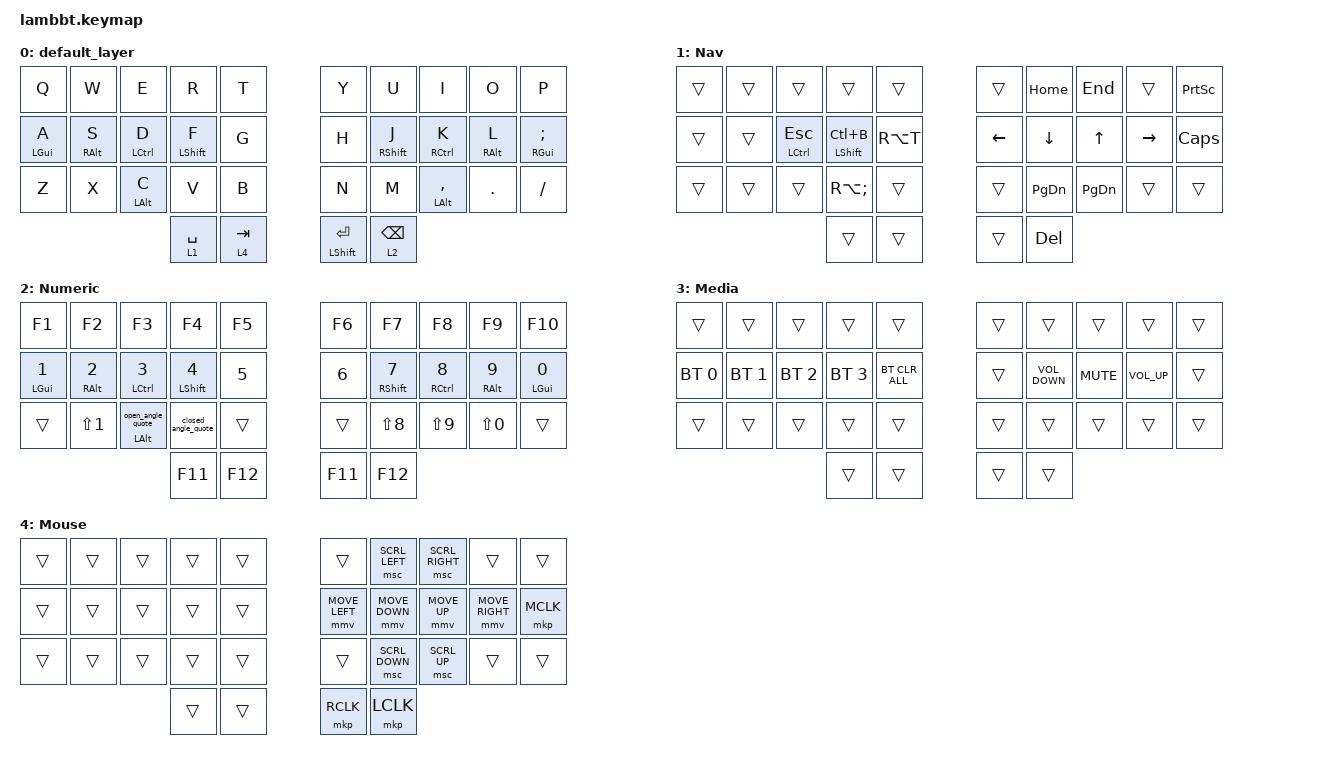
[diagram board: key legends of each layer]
/*
 * Copyright (c) 2020 The ZMK Contributors
 *
 * SPDX-License-Identifier: MIT
 */

#include <dt-bindings/zmk/mouse.h>
#include <behaviors.dtsi>
#include <dt-bindings/zmk/bt.h>
#include <dt-bindings/zmk/keys.h>
#include <dt-bindings/zmk/pointing.h>
#include <dt-bindings/zmk/pointing.h>
#include <dt-bindings/zmk/pointing.h>

#define ZMK_POINTING_DEFAULT_MOVE_VAL 900  // default: 600
#define ZMK_POINTING_DEFAULT_SCRL_VAL 10    // default: 10
#define NAV_L 1
#define OTHER_L 2
#define NUM_L 3
#define SYM_L 4

// Using layer taps on thumbs, having quick tap as well helps w/ repeating space/backspace
//&lt { quick-tap-ms = <200>; };

/ {
    behaviors {
        hml: hml {
            compatible = "zmk,behavior-hold-tap";
            flavor = "balanced";
            tapping-term-ms = <280>;
            quick-tap-ms = <175>;
            #binding-cells = <2>;
            bindings = <&kp>, <&kp>;

            hold-trigger-key-positions = <5 6 7 8 9 15 16 17 18 19 25 26 27 28 29 32 33 30 31>;
            require-prior-idle-ms = <150>;
            hold-trigger-on-release;
        };

        hmr: hmr {
            compatible = "zmk,behavior-hold-tap";
            flavor = "balanced";
            tapping-term-ms = <280>;
            quick-tap-ms = <175>;
            #binding-cells = <2>;
            bindings = <&kp>, <&kp>;

            hold-trigger-key-positions = <0 1 2 3 4 10 11 12 13 14 20 21 22 23 24 31 30 32 33>;
            require-prior-idle-ms = <150>;
            hold-trigger-on-release;
        };

        hrlt: hrlt {
            compatible = "zmk,behavior-hold-tap";
            flavor = "balanced";
            tapping-term-ms = <280>;
            quick-tap-ms = <175>;
            #binding-cells = <2>;
            bindings = <&mo>, <&kp>;

            hold-trigger-key-positions = <5 6 7 8 9 15 16 17 18 19 25 26 27 28 29 32 33 30 31>;
            require-prior-idle-ms = <150>;
            hold-trigger-on-release;
            label = "HRLT";
        };

        hroa: hroa {
            compatible = "zmk,behavior-hold-tap";
            flavor = "balanced";
            tapping-term-ms = <280>;
            quick-tap-ms = <175>;
            #binding-cells = <2>;
            bindings = <&kp>, <&open_angle_quote>;

            hold-trigger-key-positions = <5 6 7 8 9 15 16 17 18 19 25 26 27 28 29 32 33 30 31>;
            require-prior-idle-ms = <150>;
            hold-trigger-on-release;
            label = "HROA";
        };
    };

    combos {
        compatible = "zmk,combos";

        Esc {
            bindings = <&kp ESCAPE>;
            key-positions = <31 30>;
        };

        Del {
            bindings = <&mt RIGHT_ALT DELETE>;
            key-positions = <33 32>;
        };

        Media {
            bindings = <&mo 3>;
            key-positions = <31 32>;
        };

        Ralt {
            bindings = <&kp RIGHT_ALT>;
            key-positions = <30 33>;
        };

        z {
            bindings = <&kp Z>;
            key-positions = <21 22>;
        };

        b {
            bindings = <&kp B>;
            key-positions = <23 22>;
        };

        dot {
            bindings = <&kp N>;
            key-positions = <26 27>;
        };

        k {
            bindings = <&kp SLASH>;
            key-positions = <28 27>;
        };

        BestB {
            bindings = <&kp B>;
            key-positions = <4 14>;
        };

        BestDot {
            bindings = <&kp N>;
            key-positions = <15 5>;
        };
    };

    macros {
        open_angle_quote: open_angle_quote {
            compatible = "zmk,behavior-macro";
            #binding-cells = <0>;
            bindings = <&kp LS(NUMBER_2) &kp LS(SPACE)>;
            label = "OPEN_ANGLE_QUOTE";
        };

        closed_angle_quote: closed_angle_quote {
            compatible = "zmk,behavior-macro";
            #binding-cells = <0>;
            bindings = <&kp LS(SPACE) &kp LS(NUMBER_3)>;
            label = "CLOSED_ANGLE_QUOTE";
        };
    };

    keymap {
        compatible = "zmk,keymap";

        default_layer {
            bindings = <
&kp Q            &kp W             &kp E                &kp R              &kp T        &kp Y                 &kp U               &kp I                 &kp O             &kp P
&hml LEFT_GUI A  &hml RIGHT_ALT S  &hml LEFT_CONTROL D  &hml LEFT_SHIFT F  &kp G        &kp H                 &hmr RIGHT_SHIFT J  &hmr RIGHT_CONTROL K  &hmr RIGHT_ALT L  &hmr RIGHT_GUI SEMICOLON
&kp Z            &kp X             &hml LALT C          &kp V              &kp B        &kp N                 &kp M               &hmr LALT COMMA       &kp PERIOD        &kp FSLH
                                                        &lt 1 SPACE        &lt 4 TAB    &mt LEFT_SHIFT ENTER  &lt 2 BACKSPACE
            >;
        };

        Nav {
            bindings = <
&trans  &trans  &trans             &trans                 &trans       &trans    &kp HOME       &kp END        &trans     &kp PRINTSCREEN
&trans  &trans  &hml LCTRL ESCAPE  &hml LEFT_SHIFT LC(B)  &kp RA(T)    &kp LEFT  &kp DOWN       &kp UP_ARROW   &kp RIGHT  &kp CAPS
&trans  &trans  &trans             &kp RA(SEMICOLON)      &trans       &trans    &kp PAGE_DOWN  &kp PAGE_DOWN  &trans     &trans
                                   &trans                 &trans       &trans    &kp DEL
            >;
        };

        Numeric {
            bindings = <
&kp F1              &kp F2                   &kp F3               &kp F4               &kp F5     &kp F6        &kp F7         &kp F8         &kp F9             &kp F10
&hml LGUI NUMBER_1  &hml RIGHT_ALT NUMBER_2  &hml LCTRL NUMBER_3  &hml LSHFT NUMBER_4  &kp N5     &kp NUMBER_6  &hmr RSHFT N7  &hmr RCTRL N8  &hmr RIGHT_ALT N9  &hmr LGUI N0
&trans              &kp LS(NUMBER_1)         &hroa LALT 0         &closed_angle_quote  &trans     &trans        &kp LS(N8)     &kp LS(N9)     &kp LS(N0)         &trans
                                                                  &kp F11              &kp F12    &kp F11       &kp F12
            >;
        };

        Media {
            bindings = <
&trans        &trans        &trans        &trans        &trans            &trans  &trans             &trans      &trans           &trans
&bt BT_SEL 0  &bt BT_SEL 1  &bt BT_SEL 2  &bt BT_SEL 3  &bt BT_CLR_ALL    &trans  &kp C_VOLUME_DOWN  &kp C_MUTE  &kp C_VOLUME_UP  &trans
&trans        &trans        &trans        &trans        &trans            &trans  &trans             &trans      &trans           &trans
                                          &trans        &trans            &trans  &trans
            >;
        };

        Mouse {
            bindings = <
&trans  &trans  &trans  &trans  &trans    &trans          &msc SCRL_LEFT  &msc SCRL_RIGHT  &trans           &trans
&trans  &trans  &trans  &trans  &trans    &mmv MOVE_LEFT  &mmv MOVE_DOWN  &mmv MOVE_UP     &mmv MOVE_RIGHT  &mkp MCLK
&trans  &trans  &trans  &trans  &trans    &trans          &msc SCRL_DOWN  &msc SCRL_UP     &trans           &trans
                        &trans  &trans    &mkp RCLK       &mkp LCLK
            >;
        };
    };
};
